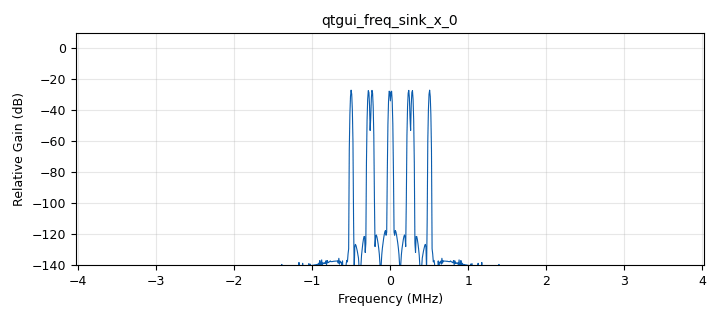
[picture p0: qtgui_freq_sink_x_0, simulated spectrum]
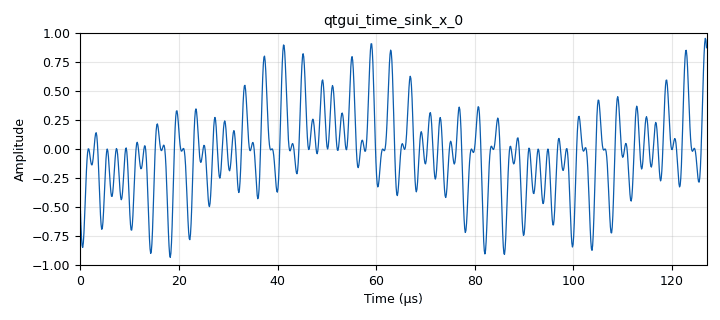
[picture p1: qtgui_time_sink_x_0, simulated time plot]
options:
  parameters:
    generate_options: qt_gui
    id: Multiplicacion
    output_language: python
    title: Multiplicacion de señales
  states: {}

blocks:
- name: freq_a
  id: variable_qtgui_range
  parameters:
    label: Frecuency
    start: '1000'
    step: '1000'
    stop: '200000'
    value: '111000'
  states: {}
- name: freq_b
  id: variable_qtgui_range
  parameters:
    label: FrecuencyB
    start: '1000'
    step: '1000'
    stop: '3000000'
    value: '257400'
  states: {}
- name: freq_c
  id: variable_qtgui_range
  parameters:
    label: FrecuencyC
    start: '1000'
    step: '1000'
    stop: '2000000'
    value: '134250'
  states: {}
- name: samp_rate
  id: variable_qtgui_range
  parameters:
    label: Frecuencia de muestreo
    start: '1000'
    step: '1000'
    stop: '100000000'
    value: '8055000'
  states: {}
- name: analog_sig_source_x_0
  id: analog_sig_source_x
  parameters:
    amp: '1'
    freq: freq_a
    offset: '0'
    phase: '0'
    samp_rate: samp_rate
    type: float
    waveform: analog.GR_COS_WAVE
  states: {}
- name: analog_sig_source_x_0_0
  id: analog_sig_source_x
  parameters:
    amp: '1'
    freq: freq_c
    offset: '0'
    phase: '0'
    samp_rate: samp_rate
    type: float
    waveform: analog.GR_SIN_WAVE
  states: {}
- name: analog_sig_source_x_0_1
  id: analog_sig_source_x
  parameters:
    amp: '1'
    freq: freq_b
    offset: '0'
    phase: '0'
    samp_rate: samp_rate
    type: float
    waveform: analog.GR_COS_WAVE
  states: {}
- name: blocks_multiply_xx_0
  id: blocks_multiply_xx
  parameters:
    num_inputs: '3'
    type: float
  states: {}
- name: blocks_throttle_0
  id: blocks_throttle
  parameters:
    samples_per_second: samp_rate
    type: float
  states: {}
- name: qtgui_freq_sink_x_0
  id: qtgui_freq_sink_x
  parameters:
    bw: samp_rate
    fc: '0'
    fftsize: '1024'
    type: float
  states: {}
- name: qtgui_time_sink_x_0
  id: qtgui_time_sink_x
  parameters:
    size: '1024'
    srate: samp_rate
    type: float
  states: {}

connections:
- [analog_sig_source_x_0, '0', blocks_multiply_xx_0, '0']
- [analog_sig_source_x_0_0, '0', blocks_multiply_xx_0, '2']
- [analog_sig_source_x_0_1, '0', blocks_multiply_xx_0, '1']
- [blocks_multiply_xx_0, '0', blocks_throttle_0, '0']
- [blocks_throttle_0, '0', qtgui_freq_sink_x_0, '0']
- [blocks_throttle_0, '0', qtgui_time_sink_x_0, '0']

metadata:
  file_format: 1
